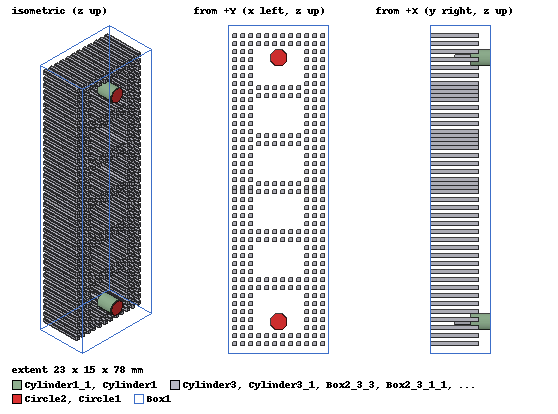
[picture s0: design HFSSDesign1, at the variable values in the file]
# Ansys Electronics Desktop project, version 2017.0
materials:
  vacuum: permittivity=1
  pec: conductivity=1e+30
  Teflon (tm): permittivity=2.1 dielectric_loss_tangent=0.001

design HFSSDesign1 (HFSS, DrivenModal, model units mm)
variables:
  a = 25mm
  b = 15mm
  l = 82mm
  a1 = 1mm
  b1 = 1mm
  l1 = 12mm
  d = 2mm
  x1 = 1mm
  z1 = 2mm
  r1 = 2.1mm
  l_ptfe = 5mm
  z_ptfe = 8mm
  r2 = 0.65mm
  lm = 9mm
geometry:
  Box1 [vacuum] = box(corner=(0mm, 0mm, 0mm), size=(a, b, l))
  Box2 [pec] = box(corner=(x1, 0mm, z1), size=(a1, l1, b1))
  Box2_1..Box2_19 [pec] = Box2.duplicate_along_line(step=(0mm, 0mm, d), total=20)
  Cylinder1 [Teflon (tm)] = cylinder(axis=Y, base_centre=(a/2, b, z_ptfe), radius=r1, height=-l_ptfe)
  Cylinder2 = cylinder(axis=Y, base_centre=(a/2, b, z_ptfe), radius=r2, height=-lm)
  Cylinder2_1 = Cylinder2.duplicate_along_line(step=(0mm, 0mm, l-z_ptfe*2), total=2)
  Cylinder1_1 [Teflon (tm)] = Cylinder1.duplicate_along_line(step=(0mm, 0mm, l-2*z_ptfe), total=2)
  Circle1 = circle(normal=Y, centre=(a/2, b, z_ptfe), radius=r1)
  Circle2 = circle(normal=Y, centre=(a/2, b, l-z_ptfe), radius=r1)
  Box2_20, Box2_21 [pec] = Box2.duplicate_along_line(step=(2mm, 0mm, 0mm), total=3)
  Box2_1_1, Box2_1_2 [pec] = Box2_1.duplicate_along_line(step=(2mm, 0mm, 0mm), total=3)
  Box2_2_1, Box2_2_2 [pec] = Box2_2.duplicate_along_line(step=(2mm, 0mm, 0mm), total=3)
  Box2_3_1, Box2_3_2 [pec] = Box2_3.duplicate_along_line(step=(2mm, 0mm, 0mm), total=3)
  Box2_4_1, Box2_4_2 [pec] = Box2_4.duplicate_along_line(step=(2mm, 0mm, 0mm), total=3)
  Box2_5_1, Box2_5_2 [pec] = Box2_5.duplicate_along_line(step=(2mm, 0mm, 0mm), total=3)
  Box2_6_1, Box2_6_2 [pec] = Box2_6.duplicate_along_line(step=(2mm, 0mm, 0mm), total=3)
  Box2_7_1, Box2_7_2 [pec] = Box2_7.duplicate_along_line(step=(2mm, 0mm, 0mm), total=3)
  Box2_8_1, Box2_8_2 [pec] = Box2_8.duplicate_along_line(step=(2mm, 0mm, 0mm), total=3)
  Box2_9_1, Box2_9_2 [pec] = Box2_9.duplicate_along_line(step=(2mm, 0mm, 0mm), total=3)
  Box2_10_1, Box2_10_2 [pec] = Box2_10.duplicate_along_line(step=(2mm, 0mm, 0mm), total=3)
  Box2_11_1, Box2_11_2 [pec] = Box2_11.duplicate_along_line(step=(2mm, 0mm, 0mm), total=3)
  Box2_12_1, Box2_12_2 [pec] = Box2_12.duplicate_along_line(step=(2mm, 0mm, 0mm), total=3)
  Box2_13_1, Box2_13_2 [pec] = Box2_13.duplicate_along_line(step=(2mm, 0mm, 0mm), total=3)
  Box2_14_1, Box2_14_2 [pec] = Box2_14.duplicate_along_line(step=(2mm, 0mm, 0mm), total=3)
  Box2_15_1, Box2_15_2 [pec] = Box2_15.duplicate_along_line(step=(2mm, 0mm, 0mm), total=3)
  Box2_16_1, Box2_16_2 [pec] = Box2_16.duplicate_along_line(step=(2mm, 0mm, 0mm), total=3)
  Box2_17_1, Box2_17_2 [pec] = Box2_17.duplicate_along_line(step=(2mm, 0mm, 0mm), total=3)
  Box2_18_1, Box2_18_2 [pec] = Box2_18.duplicate_along_line(step=(2mm, 0mm, 0mm), total=3)
  Box2_19_1, Box2_19_2 [pec] = Box2_19.duplicate_along_line(step=(2mm, 0mm, 0mm), total=3)
  Box2_22 [pec] = Box2.duplicate_along_line(step=(18mm, 0mm, 0mm), total=2)
  Box2_1_3 [pec] = Box2_1.duplicate_along_line(step=(18mm, 0mm, 0mm), total=2)
  Box2_1_1_1 [pec] = Box2_1_1.duplicate_along_line(step=(18mm, 0mm, 0mm), total=2)
  Box2_1_2_1 [pec] = Box2_1_2.duplicate_along_line(step=(18mm, 0mm, 0mm), total=2)
  Box2_2_3 [pec] = Box2_2.duplicate_along_line(step=(18mm, 0mm, 0mm), total=2)
  Box2_2_1_1 [pec] = Box2_2_1.duplicate_along_line(step=(18mm, 0mm, 0mm), total=2)
  Box2_2_2_1 [pec] = Box2_2_2.duplicate_along_line(step=(18mm, 0mm, 0mm), total=2)
  Box2_3_3 [pec] = Box2_3.duplicate_along_line(step=(18mm, 0mm, 0mm), total=2)
  Box2_3_1_1 [pec] = Box2_3_1.duplicate_along_line(step=(18mm, 0mm, 0mm), total=2)
  Box2_3_2_1 [pec] = Box2_3_2.duplicate_along_line(step=(18mm, 0mm, 0mm), total=2)
  Box2_4_3 [pec] = Box2_4.duplicate_along_line(step=(18mm, 0mm, 0mm), total=2)
  Box2_4_1_1 [pec] = Box2_4_1.duplicate_along_line(step=(18mm, 0mm, 0mm), total=2)
  Box2_4_2_1 [pec] = Box2_4_2.duplicate_along_line(step=(18mm, 0mm, 0mm), total=2)
  Box2_5_3 [pec] = Box2_5.duplicate_along_line(step=(18mm, 0mm, 0mm), total=2)
  Box2_5_1_1 [pec] = Box2_5_1.duplicate_along_line(step=(18mm, 0mm, 0mm), total=2)
  Box2_5_2_1 [pec] = Box2_5_2.duplicate_along_line(step=(18mm, 0mm, 0mm), total=2)
  Box2_6_3 [pec] = Box2_6.duplicate_along_line(step=(18mm, 0mm, 0mm), total=2)
  Box2_6_1_1 [pec] = Box2_6_1.duplicate_along_line(step=(18mm, 0mm, 0mm), total=2)
  Box2_6_2_1 [pec] = Box2_6_2.duplicate_along_line(step=(18mm, 0mm, 0mm), total=2)
  Box2_7_3 [pec] = Box2_7.duplicate_along_line(step=(18mm, 0mm, 0mm), total=2)
  Box2_7_1_1 [pec] = Box2_7_1.duplicate_along_line(step=(18mm, 0mm, 0mm), total=2)
  Box2_7_2_1 [pec] = Box2_7_2.duplicate_along_line(step=(18mm, 0mm, 0mm), total=2)
  Box2_8_3 [pec] = Box2_8.duplicate_along_line(step=(18mm, 0mm, 0mm), total=2)
  Box2_8_1_1 [pec] = Box2_8_1.duplicate_along_line(step=(18mm, 0mm, 0mm), total=2)
  Box2_8_2_1 [pec] = Box2_8_2.duplicate_along_line(step=(18mm, 0mm, 0mm), total=2)
  Box2_9_3 [pec] = Box2_9.duplicate_along_line(step=(18mm, 0mm, 0mm), total=2)
  Box2_9_1_1 [pec] = Box2_9_1.duplicate_along_line(step=(18mm, 0mm, 0mm), total=2)
  Box2_9_2_1 [pec] = Box2_9_2.duplicate_along_line(step=(18mm, 0mm, 0mm), total=2)
  Box2_10_3 [pec] = Box2_10.duplicate_along_line(step=(18mm, 0mm, 0mm), total=2)
  Box2_10_1_1 [pec] = Box2_10_1.duplicate_along_line(step=(18mm, 0mm, 0mm), total=2)
  Box2_10_2_1 [pec] = Box2_10_2.duplicate_along_line(step=(18mm, 0mm, 0mm), total=2)
  Box2_11_3 [pec] = Box2_11.duplicate_along_line(step=(18mm, 0mm, 0mm), total=2)
  Box2_11_1_1 [pec] = Box2_11_1.duplicate_along_line(step=(18mm, 0mm, 0mm), total=2)
  Box2_11_2_1 [pec] = Box2_11_2.duplicate_along_line(step=(18mm, 0mm, 0mm), total=2)
  Box2_12_3 [pec] = Box2_12.duplicate_along_line(step=(18mm, 0mm, 0mm), total=2)
  Box2_12_1_1 [pec] = Box2_12_1.duplicate_along_line(step=(18mm, 0mm, 0mm), total=2)
  Box2_12_2_1 [pec] = Box2_12_2.duplicate_along_line(step=(18mm, 0mm, 0mm), total=2)
  Box2_13_3 [pec] = Box2_13.duplicate_along_line(step=(18mm, 0mm, 0mm), total=2)
  Box2_13_1_1 [pec] = Box2_13_1.duplicate_along_line(step=(18mm, 0mm, 0mm), total=2)
  Box2_13_2_1 [pec] = Box2_13_2.duplicate_along_line(step=(18mm, 0mm, 0mm), total=2)
  Box2_14_3 [pec] = Box2_14.duplicate_along_line(step=(18mm, 0mm, 0mm), total=2)
  Box2_14_1_1 [pec] = Box2_14_1.duplicate_along_line(step=(18mm, 0mm, 0mm), total=2)
  Box2_14_2_1 [pec] = Box2_14_2.duplicate_along_line(step=(18mm, 0mm, 0mm), total=2)
  Box2_15_3 [pec] = Box2_15.duplicate_along_line(step=(18mm, 0mm, 0mm), total=2)
  Box2_15_1_1 [pec] = Box2_15_1.duplicate_along_line(step=(18mm, 0mm, 0mm), total=2)
  Box2_15_2_1 [pec] = Box2_15_2.duplicate_along_line(step=(18mm, 0mm, 0mm), total=2)
  Box2_16_3 [pec] = Box2_16.duplicate_along_line(step=(18mm, 0mm, 0mm), total=2)
  Box2_16_1_1 [pec] = Box2_16_1.duplicate_along_line(step=(18mm, 0mm, 0mm), total=2)
  Box2_16_2_1 [pec] = Box2_16_2.duplicate_along_line(step=(18mm, 0mm, 0mm), total=2)
  Box2_17_3 [pec] = Box2_17.duplicate_along_line(step=(18mm, 0mm, 0mm), total=2)
  Box2_17_1_1 [pec] = Box2_17_1.duplicate_along_line(step=(18mm, 0mm, 0mm), total=2)
  Box2_17_2_1 [pec] = Box2_17_2.duplicate_along_line(step=(18mm, 0mm, 0mm), total=2)
  Box2_18_3 [pec] = Box2_18.duplicate_along_line(step=(18mm, 0mm, 0mm), total=2)
  Box2_18_1_1 [pec] = Box2_18_1.duplicate_along_line(step=(18mm, 0mm, 0mm), total=2)
  Box2_18_2_1 [pec] = Box2_18_2.duplicate_along_line(step=(18mm, 0mm, 0mm), total=2)
  Box2_19_3 [pec] = Box2_19.duplicate_along_line(step=(18mm, 0mm, 0mm), total=2)
  Box2_19_1_1 [pec] = Box2_19_1.duplicate_along_line(step=(18mm, 0mm, 0mm), total=2)
  Box2_19_2_1 [pec] = Box2_19_2.duplicate_along_line(step=(18mm, 0mm, 0mm), total=2)
  Box2_20_1 [pec] = Box2_20.duplicate_along_line(step=(18mm, 0mm, 0mm), total=2)
  Box2_21_1 [pec] = Box2_21.duplicate_along_line(step=(18mm, 0mm, 0mm), total=2)
  Cylinder1.subtract(Cylinder2)
  Cylinder1_1.subtract(Cylinder2_1)
  Cylinder3 [pec] = cylinder(axis=Y, base_centre=(a/2, b, z_ptfe), radius=r2, height=-lm)
  Cylinder3_1 [pec] = Cylinder3.duplicate_along_line(step=(0mm, 0mm, l-2*z_ptfe), total=2)
  Box2_23 [pec] = Box2.duplicate_along_line(step=(0mm, 0mm, 39mm), total=2)
  Box2_1_4 [pec] = Box2_1.duplicate_along_line(step=(0mm, 0mm, 39mm), total=2)
  Box2_1_1_2 [pec] = Box2_1_1.duplicate_along_line(step=(0mm, 0mm, 39mm), total=2)
  Box2_1_1_1_1 [pec] = Box2_1_1_1.duplicate_along_line(step=(0mm, 0mm, 39mm), total=2)
  Box2_1_2_2 [pec] = Box2_1_2.duplicate_along_line(step=(0mm, 0mm, 39mm), total=2)
  Box2_1_2_1_1 [pec] = Box2_1_2_1.duplicate_along_line(step=(0mm, 0mm, 39mm), total=2)
  Box2_1_3_1 [pec] = Box2_1_3.duplicate_along_line(step=(0mm, 0mm, 39mm), total=2)
  Box2_2_4 [pec] = Box2_2.duplicate_along_line(step=(0mm, 0mm, 39mm), total=2)
  Box2_2_1_2 [pec] = Box2_2_1.duplicate_along_line(step=(0mm, 0mm, 39mm), total=2)
  Box2_2_1_1_1 [pec] = Box2_2_1_1.duplicate_along_line(step=(0mm, 0mm, 39mm), total=2)
  Box2_2_2_2 [pec] = Box2_2_2.duplicate_along_line(step=(0mm, 0mm, 39mm), total=2)
  Box2_2_2_1_1 [pec] = Box2_2_2_1.duplicate_along_line(step=(0mm, 0mm, 39mm), total=2)
  Box2_2_3_1 [pec] = Box2_2_3.duplicate_along_line(step=(0mm, 0mm, 39mm), total=2)
  Box2_3_4 [pec] = Box2_3.duplicate_along_line(step=(0mm, 0mm, 39mm), total=2)
  Box2_3_1_2 [pec] = Box2_3_1.duplicate_along_line(step=(0mm, 0mm, 39mm), total=2)
  Box2_3_1_1_1 [pec] = Box2_3_1_1.duplicate_along_line(step=(0mm, 0mm, 39mm), total=2)
  Box2_3_2_2 [pec] = Box2_3_2.duplicate_along_line(step=(0mm, 0mm, 39mm), total=2)
  Box2_3_2_1_1 [pec] = Box2_3_2_1.duplicate_along_line(step=(0mm, 0mm, 39mm), total=2)
  Box2_3_3_1 [pec] = Box2_3_3.duplicate_along_line(step=(0mm, 0mm, 39mm), total=2)
  Box2_4_4 [pec] = Box2_4.duplicate_along_line(step=(0mm, 0mm, 39mm), total=2)
  Box2_4_1_2 [pec] = Box2_4_1.duplicate_along_line(step=(0mm, 0mm, 39mm), total=2)
  Box2_4_1_1_1 [pec] = Box2_4_1_1.duplicate_along_line(step=(0mm, 0mm, 39mm), total=2)
  Box2_4_2_2 [pec] = Box2_4_2.duplicate_along_line(step=(0mm, 0mm, 39mm), total=2)
  Box2_4_2_1_1 [pec] = Box2_4_2_1.duplicate_along_line(step=(0mm, 0mm, 39mm), total=2)
  Box2_4_3_1 [pec] = Box2_4_3.duplicate_along_line(step=(0mm, 0mm, 39mm), total=2)
  Box2_5_4 [pec] = Box2_5.duplicate_along_line(step=(0mm, 0mm, 39mm), total=2)
  Box2_5_1_2 [pec] = Box2_5_1.duplicate_along_line(step=(0mm, 0mm, 39mm), total=2)
  Box2_5_1_1_1 [pec] = Box2_5_1_1.duplicate_along_line(step=(0mm, 0mm, 39mm), total=2)
  Box2_5_2_2 [pec] = Box2_5_2.duplicate_along_line(step=(0mm, 0mm, 39mm), total=2)
  Box2_5_2_1_1 [pec] = Box2_5_2_1.duplicate_along_line(step=(0mm, 0mm, 39mm), total=2)
  Box2_5_3_1 [pec] = Box2_5_3.duplicate_along_line(step=(0mm, 0mm, 39mm), total=2)
  Box2_6_4 [pec] = Box2_6.duplicate_along_line(step=(0mm, 0mm, 39mm), total=2)
  Box2_6_1_2 [pec] = Box2_6_1.duplicate_along_line(step=(0mm, 0mm, 39mm), total=2)
  Box2_6_1_1_1 [pec] = Box2_6_1_1.duplicate_along_line(step=(0mm, 0mm, 39mm), total=2)
  Box2_6_2_2 [pec] = Box2_6_2.duplicate_along_line(step=(0mm, 0mm, 39mm), total=2)
  Box2_6_2_1_1 [pec] = Box2_6_2_1.duplicate_along_line(step=(0mm, 0mm, 39mm), total=2)
  Box2_6_3_1 [pec] = Box2_6_3.duplicate_along_line(step=(0mm, 0mm, 39mm), total=2)
  Box2_7_4 [pec] = Box2_7.duplicate_along_line(step=(0mm, 0mm, 39mm), total=2)
  Box2_7_1_2 [pec] = Box2_7_1.duplicate_along_line(step=(0mm, 0mm, 39mm), total=2)
  Box2_7_1_1_1 [pec] = Box2_7_1_1.duplicate_along_line(step=(0mm, 0mm, 39mm), total=2)
  Box2_7_2_2 [pec] = Box2_7_2.duplicate_along_line(step=(0mm, 0mm, 39mm), total=2)
  Box2_7_2_1_1 [pec] = Box2_7_2_1.duplicate_along_line(step=(0mm, 0mm, 39mm), total=2)
  Box2_7_3_1 [pec] = Box2_7_3.duplicate_along_line(step=(0mm, 0mm, 39mm), total=2)
  Box2_8_4 [pec] = Box2_8.duplicate_along_line(step=(0mm, 0mm, 39mm), total=2)
  Box2_8_1_2 [pec] = Box2_8_1.duplicate_along_line(step=(0mm, 0mm, 39mm), total=2)
  Box2_8_1_1_1 [pec] = Box2_8_1_1.duplicate_along_line(step=(0mm, 0mm, 39mm), total=2)
  Box2_8_2_2 [pec] = Box2_8_2.duplicate_along_line(step=(0mm, 0mm, 39mm), total=2)
  Box2_8_2_1_1 [pec] = Box2_8_2_1.duplicate_along_line(step=(0mm, 0mm, 39mm), total=2)
  Box2_8_3_1 [pec] = Box2_8_3.duplicate_along_line(step=(0mm, 0mm, 39mm), total=2)
  Box2_9_4 [pec] = Box2_9.duplicate_along_line(step=(0mm, 0mm, 39mm), total=2)
  Box2_9_1_2 [pec] = Box2_9_1.duplicate_along_line(step=(0mm, 0mm, 39mm), total=2)
  Box2_9_1_1_1 [pec] = Box2_9_1_1.duplicate_along_line(step=(0mm, 0mm, 39mm), total=2)
  Box2_9_2_2 [pec] = Box2_9_2.duplicate_along_line(step=(0mm, 0mm, 39mm), total=2)
  Box2_9_2_1_1 [pec] = Box2_9_2_1.duplicate_along_line(step=(0mm, 0mm, 39mm), total=2)
  Box2_9_3_1 [pec] = Box2_9_3.duplicate_along_line(step=(0mm, 0mm, 39mm), total=2)
  Box2_10_4 [pec] = Box2_10.duplicate_along_line(step=(0mm, 0mm, 39mm), total=2)
  Box2_10_1_2 [pec] = Box2_10_1.duplicate_along_line(step=(0mm, 0mm, 39mm), total=2)
  Box2_10_1_1_1 [pec] = Box2_10_1_1.duplicate_along_line(step=(0mm, 0mm, 39mm), total=2)
  Box2_10_2_2 [pec] = Box2_10_2.duplicate_along_line(step=(0mm, 0mm, 39mm), total=2)
  Box2_10_2_1_1 [pec] = Box2_10_2_1.duplicate_along_line(step=(0mm, 0mm, 39mm), total=2)
  Box2_10_3_1 [pec] = Box2_10_3.duplicate_along_line(step=(0mm, 0mm, 39mm), total=2)
  Box2_11_4 [pec] = Box2_11.duplicate_along_line(step=(0mm, 0mm, 39mm), total=2)
  Box2_11_1_2 [pec] = Box2_11_1.duplicate_along_line(step=(0mm, 0mm, 39mm), total=2)
  Box2_11_1_1_1 [pec] = Box2_11_1_1.duplicate_along_line(step=(0mm, 0mm, 39mm), total=2)
  Box2_11_2_2 [pec] = Box2_11_2.duplicate_along_line(step=(0mm, 0mm, 39mm), total=2)
  Box2_11_2_1_1 [pec] = Box2_11_2_1.duplicate_along_line(step=(0mm, 0mm, 39mm), total=2)
  Box2_11_3_1 [pec] = Box2_11_3.duplicate_along_line(step=(0mm, 0mm, 39mm), total=2)
  Box2_12_4 [pec] = Box2_12.duplicate_along_line(step=(0mm, 0mm, 39mm), total=2)
  Box2_12_1_2 [pec] = Box2_12_1.duplicate_along_line(step=(0mm, 0mm, 39mm), total=2)
  Box2_12_1_1_1 [pec] = Box2_12_1_1.duplicate_along_line(step=(0mm, 0mm, 39mm), total=2)
  Box2_12_2_2 [pec] = Box2_12_2.duplicate_along_line(step=(0mm, 0mm, 39mm), total=2)
  Box2_12_2_1_1 [pec] = Box2_12_2_1.duplicate_along_line(step=(0mm, 0mm, 39mm), total=2)
  Box2_12_3_1 [pec] = Box2_12_3.duplicate_along_line(step=(0mm, 0mm, 39mm), total=2)
  Box2_13_4 [pec] = Box2_13.duplicate_along_line(step=(0mm, 0mm, 39mm), total=2)
  Box2_13_1_2 [pec] = Box2_13_1.duplicate_along_line(step=(0mm, 0mm, 39mm), total=2)
  Box2_13_1_1_1 [pec] = Box2_13_1_1.duplicate_along_line(step=(0mm, 0mm, 39mm), total=2)
  Box2_13_2_2 [pec] = Box2_13_2.duplicate_along_line(step=(0mm, 0mm, 39mm), total=2)
  Box2_13_2_1_1 [pec] = Box2_13_2_1.duplicate_along_line(step=(0mm, 0mm, 39mm), total=2)
  Box2_13_3_1 [pec] = Box2_13_3.duplicate_along_line(step=(0mm, 0mm, 39mm), total=2)
  Box2_14_4 [pec] = Box2_14.duplicate_along_line(step=(0mm, 0mm, 39mm), total=2)
  Box2_14_1_2 [pec] = Box2_14_1.duplicate_along_line(step=(0mm, 0mm, 39mm), total=2)
  Box2_14_1_1_1 [pec] = Box2_14_1_1.duplicate_along_line(step=(0mm, 0mm, 39mm), total=2)
  Box2_14_2_2 [pec] = Box2_14_2.duplicate_along_line(step=(0mm, 0mm, 39mm), total=2)
  Box2_14_2_1_1 [pec] = Box2_14_2_1.duplicate_along_line(step=(0mm, 0mm, 39mm), total=2)
  Box2_14_3_1 [pec] = Box2_14_3.duplicate_along_line(step=(0mm, 0mm, 39mm), total=2)
  Box2_15_4 [pec] = Box2_15.duplicate_along_line(step=(0mm, 0mm, 39mm), total=2)
  Box2_15_1_2 [pec] = Box2_15_1.duplicate_along_line(step=(0mm, 0mm, 39mm), total=2)
  Box2_15_1_1_1 [pec] = Box2_15_1_1.duplicate_along_line(step=(0mm, 0mm, 39mm), total=2)
  Box2_15_2_2 [pec] = Box2_15_2.duplicate_along_line(step=(0mm, 0mm, 39mm), total=2)
  Box2_15_2_1_1 [pec] = Box2_15_2_1.duplicate_along_line(step=(0mm, 0mm, 39mm), total=2)
  Box2_15_3_1 [pec] = Box2_15_3.duplicate_along_line(step=(0mm, 0mm, 39mm), total=2)
  Box2_16_4 [pec] = Box2_16.duplicate_along_line(step=(0mm, 0mm, 39mm), total=2)
  Box2_16_1_2 [pec] = Box2_16_1.duplicate_along_line(step=(0mm, 0mm, 39mm), total=2)
  Box2_16_1_1_1 [pec] = Box2_16_1_1.duplicate_along_line(step=(0mm, 0mm, 39mm), total=2)
  Box2_16_2_2 [pec] = Box2_16_2.duplicate_along_line(step=(0mm, 0mm, 39mm), total=2)
  Box2_16_2_1_1 [pec] = Box2_16_2_1.duplicate_along_line(step=(0mm, 0mm, 39mm), total=2)
  Box2_16_3_1 [pec] = Box2_16_3.duplicate_along_line(step=(0mm, 0mm, 39mm), total=2)
  Box2_17_4 [pec] = Box2_17.duplicate_along_line(step=(0mm, 0mm, 39mm), total=2)
  Box2_17_1_2 [pec] = Box2_17_1.duplicate_along_line(step=(0mm, 0mm, 39mm), total=2)
  Box2_17_1_1_1 [pec] = Box2_17_1_1.duplicate_along_line(step=(0mm, 0mm, 39mm), total=2)
  Box2_17_2_2 [pec] = Box2_17_2.duplicate_along_line(step=(0mm, 0mm, 39mm), total=2)
  Box2_17_2_1_1 [pec] = Box2_17_2_1.duplicate_along_line(step=(0mm, 0mm, 39mm), total=2)
  Box2_17_3_1 [pec] = Box2_17_3.duplicate_along_line(step=(0mm, 0mm, 39mm), total=2)
  Box2_18_4 [pec] = Box2_18.duplicate_along_line(step=(0mm, 0mm, 39mm), total=2)
  Box2_18_1_2 [pec] = Box2_18_1.duplicate_along_line(step=(0mm, 0mm, 39mm), total=2)
  Box2_18_1_1_1 [pec] = Box2_18_1_1.duplicate_along_line(step=(0mm, 0mm, 39mm), total=2)
  Box2_18_2_2 [pec] = Box2_18_2.duplicate_along_line(step=(0mm, 0mm, 39mm), total=2)
  Box2_18_2_1_1 [pec] = Box2_18_2_1.duplicate_along_line(step=(0mm, 0mm, 39mm), total=2)
  Box2_18_3_1 [pec] = Box2_18_3.duplicate_along_line(step=(0mm, 0mm, 39mm), total=2)
  Box2_19_4 [pec] = Box2_19.duplicate_along_line(step=(0mm, 0mm, 39mm), total=2)
  Box2_19_1_2 [pec] = Box2_19_1.duplicate_along_line(step=(0mm, 0mm, 39mm), total=2)
  Box2_19_1_1_1 [pec] = Box2_19_1_1.duplicate_along_line(step=(0mm, 0mm, 39mm), total=2)
  Box2_19_2_2 [pec] = Box2_19_2.duplicate_along_line(step=(0mm, 0mm, 39mm), total=2)
  Box2_19_2_1_1 [pec] = Box2_19_2_1.duplicate_along_line(step=(0mm, 0mm, 39mm), total=2)
  Box2_19_3_1 [pec] = Box2_19_3.duplicate_along_line(step=(0mm, 0mm, 39mm), total=2)
  Box2_20_2 [pec] = Box2_20.duplicate_along_line(step=(0mm, 0mm, 39mm), total=2)
  Box2_20_1_1 [pec] = Box2_20_1.duplicate_along_line(step=(0mm, 0mm, 39mm), total=2)
  Box2_21_2 [pec] = Box2_21.duplicate_along_line(step=(0mm, 0mm, 39mm), total=2)
  Box2_21_1_1 [pec] = Box2_21_1.duplicate_along_line(step=(0mm, 0mm, 39mm), total=2)
  Box2_22_1 [pec] = Box2_22.duplicate_along_line(step=(0mm, 0mm, 39mm), total=2)
  Box2_20_3, Box2_20_4 [pec] = Box2_20.duplicate_along_line(step=(6mm, 0mm, 0mm), total=3)
  Box2_24, Box2_25 [pec] = Box2.duplicate_along_line(step=(6mm, 0mm, 0mm), total=3)
  Box2_21_3, Box2_21_4 [pec] = Box2_21.duplicate_along_line(step=(6mm, 0mm, 0mm), total=3)
  Box2_24_1 [pec] = Box2_24.duplicate_along_line(step=(0mm, 0mm, 2mm), total=2)
  Box2_20_3_1 [pec] = Box2_20_3.duplicate_along_line(step=(0mm, 0mm, 2mm), total=2)
  Box2_21_3_1 [pec] = Box2_21_3.duplicate_along_line(step=(0mm, 0mm, 2mm), total=2)
  Box2_25_1 [pec] = Box2_25.duplicate_along_line(step=(0mm, 0mm, 2mm), total=2)
  Box2_20_4_1 [pec] = Box2_20_4.duplicate_along_line(step=(0mm, 0mm, 2mm), total=2)
  Box2_21_4_1 [pec] = Box2_21_4.duplicate_along_line(step=(0mm, 0mm, 2mm), total=2)
  Box2_24_2, Box2_24_3 [pec] = Box2_24.duplicate_along_line(step=(0mm, 0mm, 38mm), total=3)
  Box2_20_3_2, Box2_20_3_3 [pec] = Box2_20_3.duplicate_along_line(step=(0mm, 0mm, 38mm), total=3)
  Box2_21_3_2, Box2_21_3_3 [pec] = Box2_21_3.duplicate_along_line(step=(0mm, 0mm, 38mm), total=3)
  Box2_25_2, Box2_25_3 [pec] = Box2_25.duplicate_along_line(step=(0mm, 0mm, 38mm), total=3)
  Box2_20_4_2, Box2_20_4_3 [pec] = Box2_20_4.duplicate_along_line(step=(0mm, 0mm, 38mm), total=3)
  Box2_21_4_2, Box2_21_4_3 [pec] = Box2_21_4.duplicate_along_line(step=(0mm, 0mm, 38mm), total=3)
  Box2_24_1_1, Box2_24_1_2 [pec] = Box2_24_1.duplicate_along_line(step=(0mm, 0mm, 38mm), total=3)
  Box2_20_3_1_1, Box2_20_3_1_2 [pec] = Box2_20_3_1.duplicate_along_line(step=(0mm, 0mm, 38mm), total=3)
  Box2_21_3_1_1, Box2_21_3_1_2 [pec] = Box2_21_3_1.duplicate_along_line(step=(0mm, 0mm, 38mm), total=3)
  Box2_25_1_1, Box2_25_1_2 [pec] = Box2_25_1.duplicate_along_line(step=(0mm, 0mm, 38mm), total=3)
  Box2_20_4_1_1, Box2_20_4_1_2 [pec] = Box2_20_4_1.duplicate_along_line(step=(0mm, 0mm, 38mm), total=3)
  Box2_21_4_1_1, Box2_21_4_1_2 [pec] = Box2_21_4_1.duplicate_along_line(step=(0mm, 0mm, 38mm), total=3)
  [Box2_24_1_2, Box2_20_3_1_2, Box2_21_3_1_2, Box2_25_1_2, Box2_20_4_1_2, Box2_21_4_1_2, Box2_21_4_3, Box2_20_4_3, Box2_25_3, Box2_21_3_3, Box2_20_3_3, Box2_24_3].move(0mm, 0mm, -1mm)
  Box2_20_4_2_1, Box2_20_4_2_2 [pec] = Box2_20_4_2.duplicate_along_line(step=(0mm, 0mm, 12mm), total=3)
  Box2_21_4_2_1, Box2_21_4_2_2 [pec] = Box2_21_4_2.duplicate_along_line(step=(0mm, 0mm, 12mm), total=3)
  Box2_25_2_1, Box2_25_2_2 [pec] = Box2_25_2.duplicate_along_line(step=(0mm, 0mm, 12mm), total=3)
  Box2_21_3_2_1, Box2_21_3_2_2 [pec] = Box2_21_3_2.duplicate_along_line(step=(0mm, 0mm, 12mm), total=3)
  Box2_20_3_2_1, Box2_20_3_2_2 [pec] = Box2_20_3_2.duplicate_along_line(step=(0mm, 0mm, 12mm), total=3)
  Box2_24_2_1, Box2_24_2_2 [pec] = Box2_24_2.duplicate_along_line(step=(0mm, 0mm, 12mm), total=3)
  Box2_24_1_1_1, Box2_24_1_1_2 [pec] = Box2_24_1_1.duplicate_along_line(step=(0mm, 0mm, 12mm), total=3)
  Box2_20_3_1_1_1, Box2_20_3_1_1_2 [pec] = Box2_20_3_1_1.duplicate_along_line(step=(0mm, 0mm, 12mm), total=3)
  Box2_21_3_1_1_1, Box2_21_3_1_1_2 [pec] = Box2_21_3_1_1.duplicate_along_line(step=(0mm, 0mm, 12mm), total=3)
  Box2_25_1_1_1, Box2_25_1_1_2 [pec] = Box2_25_1_1.duplicate_along_line(step=(0mm, 0mm, 12mm), total=3)
  Box2_20_4_1_1_1, Box2_20_4_1_1_2 [pec] = Box2_20_4_1_1.duplicate_along_line(step=(0mm, 0mm, 12mm), total=3)
  Box2_21_4_1_1_1, Box2_21_4_1_1_2 [pec] = Box2_21_4_1_1.duplicate_along_line(step=(0mm, 0mm, 12mm), total=3)
  Box2_20_4_2_3, Box2_20_4_2_4 [pec] = Box2_20_4_2.duplicate_along_line(step=(0mm, 0mm, -12mm), total=3)
  Box2_21_4_2_3, Box2_21_4_2_4 [pec] = Box2_21_4_2.duplicate_along_line(step=(0mm, 0mm, -12mm), total=3)
  Box2_25_2_3, Box2_25_2_4 [pec] = Box2_25_2.duplicate_along_line(step=(0mm, 0mm, -12mm), total=3)
  Box2_21_3_2_3, Box2_21_3_2_4 [pec] = Box2_21_3_2.duplicate_along_line(step=(0mm, 0mm, -12mm), total=3)
  Box2_20_3_2_3, Box2_20_3_2_4 [pec] = Box2_20_3_2.duplicate_along_line(step=(0mm, 0mm, -12mm), total=3)
  Box2_24_2_3, Box2_24_2_4 [pec] = Box2_24_2.duplicate_along_line(step=(0mm, 0mm, -12mm), total=3)
  Box2_24_1_1_3, Box2_24_1_1_4 [pec] = Box2_24_1_1.duplicate_along_line(step=(0mm, 0mm, -12mm), total=3)
  Box2_20_3_1_1_3, Box2_20_3_1_1_4 [pec] = Box2_20_3_1_1.duplicate_along_line(step=(0mm, 0mm, -12mm), total=3)
  Box2_21_3_1_1_3, Box2_21_3_1_1_4 [pec] = Box2_21_3_1_1.duplicate_along_line(step=(0mm, 0mm, -12mm), total=3)
  Box2_25_1_1_3, Box2_25_1_1_4 [pec] = Box2_25_1_1.duplicate_along_line(step=(0mm, 0mm, -12mm), total=3)
  Box2_20_4_1_1_3, Box2_20_4_1_1_4 [pec] = Box2_20_4_1_1.duplicate_along_line(step=(0mm, 0mm, -12mm), total=3)
  Box2_21_4_1_1_3, Box2_21_4_1_1_4 [pec] = Box2_21_4_1_1.duplicate_along_line(step=(0mm, 0mm, -12mm), total=3)
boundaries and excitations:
  1: Wave Port Objects=Circle1 NumModes=1 Modes{Mode1{CharImp=Zpi}}
  2: Wave Port Objects=Circle2 NumModes=1 Modes{Mode1{CharImp=Zpi}}
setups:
  Setup1: HfssDriven Frequency=24GHz MaxDeltaS=0.02 MaximumPasses=6 MinimumPasses=1 MinimumConvergedPasses=1 PercentRefinement=30 BasisOrder=1 PortAccuracy=2 RayDensityPerWavelength=4 MaxNumberOfBounces=5
    sweep Sweep: 23GHz to 25GHz, 50 points; Type=Fast SaveFields
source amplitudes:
  1:1: 1W 0deg
  2:1: 0W 0deg
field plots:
  Mag_E1: E Field in Box1 on Setup1 : LastAdaptive at Freq=24GHz Phase=0deg
  Mag_H1: H Field in Box1 on Setup1 : LastAdaptive at Freq=24GHz Phase=0deg
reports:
  XY Plot 1: dB(S(1,1)) vs Freq on Setup1 : Sweep
  XY Plot 2: dB(S(2,1)) vs Freq on Setup1 : Sweep
  XY Plot 3: dB(S(2,2)) vs Freq on Setup1 : Sweep
  XY Plot 4: dB(S(1,2)) vs Freq on Setup1 : Sweep
  XY Plot 5: dB(S(2,1)) vs Freq on Setup1 : Sweep
  XY Plot 6: dB(S(2,2)) vs Freq on Setup1 : Sweep
